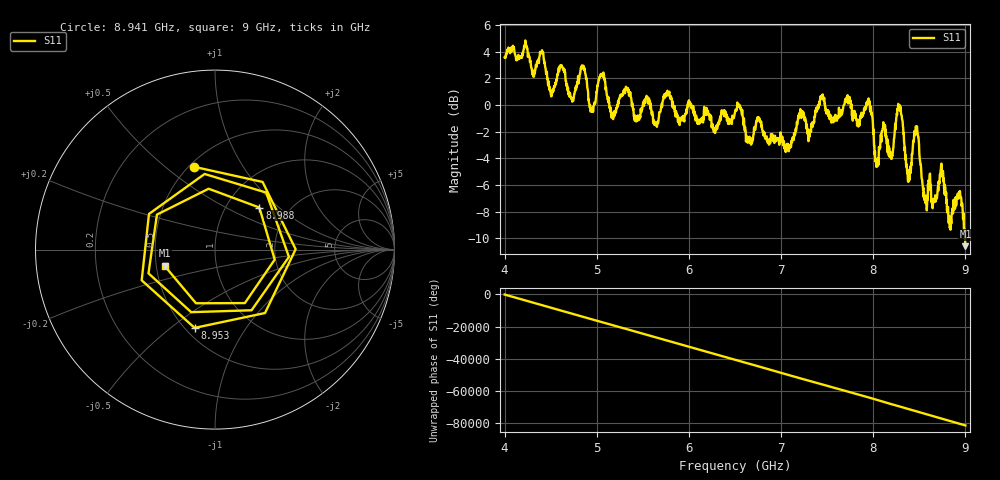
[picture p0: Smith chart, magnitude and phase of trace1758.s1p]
! Created with skrf 1.8.0 (http://scikit-rf.org).
# Hz S RI R 50.0
!freq ReS11 ImS11
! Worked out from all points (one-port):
!   1601 points, 4 GHz to 9 GHz, reference 50 ohm
!   lowest |S11| = -10.6 dB at 9 GHz (marker M1), VSWR 1.84, Z = 27.7 - j5.46 ohm
!   |S11| at or under -10 dB: 8.997124 GHz to end of sweep
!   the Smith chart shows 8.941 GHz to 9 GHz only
!   S11 on the Smith chart (normalised r, x): 8.941 GHz: 0.53, +0.63; 8.953 GHz: 0.56, -0.61; 8.988 GHz: 1.42, +0.75; 9 GHz: 0.55, -0.11
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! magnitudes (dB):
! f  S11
! 4 GHz  3.6
! 4.403 GHz  4.0
! 4.509 GHz  1.0
! 4.625 GHz  2.9
! 4.728 GHz  0.5
! 4.853 GHz  3.0
! 4.941 GHz  -0.5
! 5.053 GHz  2.3
! 5.162 GHz  -0.8
! 5.25 GHz  0.5
! 5.875 GHz  -0.7
! 6.5 GHz  -0.5
! 7.125 GHz  -2.4
! 7.75 GHz  0.2
! 7.959 GHz  0.3
! 8.041 GHz  -4.6
! 8.109 GHz  -1.3
! 8.194 GHz  -4.0
! 8.288 GHz  0.0
! 8.375 GHz  -5.5
! 8.469 GHz  -1.7
! 8.566 GHz  -7.3
! 8.741 GHz  -4.4
! 8.825 GHz  -8.3
! 8.941 GHz  -6.5
! 8.953 GHz  -6.9
! 8.988 GHz  -9.4
! 9 GHz  -10.6
